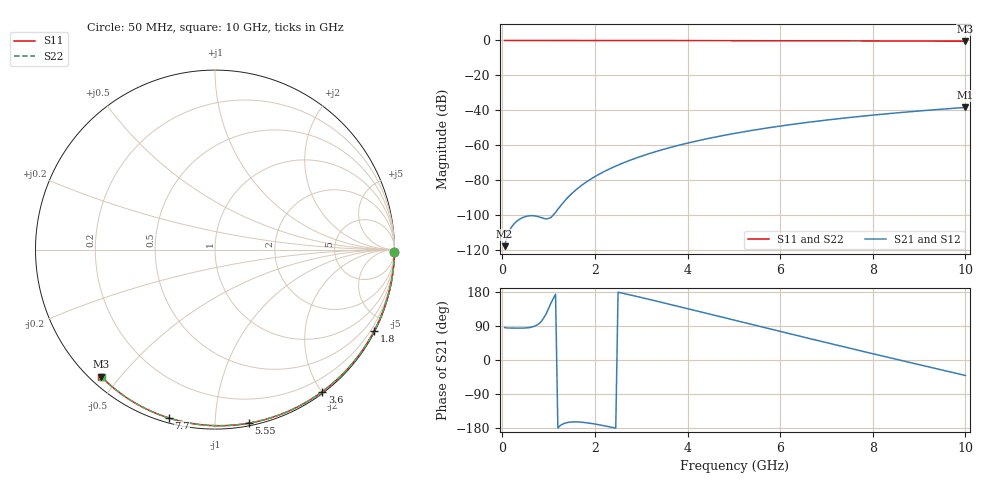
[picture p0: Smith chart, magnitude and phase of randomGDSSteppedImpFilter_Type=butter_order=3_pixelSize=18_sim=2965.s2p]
! freq	dB(S11)	phase(S11)	dB(S12)	phase(S12)
!  dB(S21)	phase(S21)	dB(S22)	phase(S22)
!S-par simulation data
#  GHz  S  DB  R 50
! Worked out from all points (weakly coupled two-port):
!   200 points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, 50 MHz to 10 GHz, reference 50 ohm
!   highest |S21| = -38.38 dB at 10 GHz (marker M1); lowest = -117.9 dB at 50 MHz (marker M2)
!   lowest |S11| = -0.4 dB at 10 GHz (marker M3), VSWR 39.07, Z = 1.54 - j22.3 ohm
!   |S11| at or under -10 dB: nowhere
!   |S22| runs from -0.4 to 0.0 dB; largest |S21 - S12| = 0
!   S11 on the Smith chart (normalised r, x): 50 MHz: open; 1.8 GHz: 0.04, -4.16; 3.6 GHz: 0.02, -2.01; 5.55 GHz: 0.02, -1.21; 7.7 GHz: 0.02, -0.76; 10 GHz: 0.03, -0.45
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0.05  -0.00 -0.8  -117.85 85.7  -117.85 85.7  -0.00 -0.8
0.9  -0.02 -13.6  -101.99 112.2  -101.99 112.2  -0.02 -13.6
1.75  -0.03 -26.3  -82.27 -164.6  -82.27 -164.6  -0.03 -26.2
1.8  -0.03 -27.0  -81.33 -165.3  -81.33 -165.3  -0.03 -27.0
1.85  -0.04 -27.8  -80.45 -166.1  -80.45 -166.1  -0.04 -27.7
1.9  -0.04 -28.5  -79.59 -167.0  -79.59 -167.0  -0.04 -28.4
2.05  -0.04 -30.7  -77.22 -170.0  -77.22 -170.0  -0.04 -30.6
2.25  -0.04 -33.6  -74.43 -174.7  -74.43 -174.7  -0.04 -33.5
2.45  -0.05 -36.5  -71.95 -179.8  -71.95 -179.8  -0.05 -36.4
2.65  -0.05 -39.4  -69.73 174.8  -69.73 174.8  -0.05 -39.3
3  -0.06 -44.4  -66.33 164.9  -66.33 164.9  -0.06 -44.3
3.4  -0.07 -50.1  -63.00 153.3  -63.00 153.3  -0.07 -49.9
3.6  -0.07 -52.9  -61.51 147.4  -61.51 147.4  -0.07 -52.7
4.3  -0.09 -62.5  -57.00 126.5  -57.00 126.5  -0.09 -62.3
5.05  -0.11 -72.4  -53.08 103.9  -53.08 103.9  -0.11 -72.2
5.55  -0.13 -78.9  -50.84 88.9  -50.84 88.9  -0.13 -78.7
6.1  -0.15 -85.9  -48.67 72.5  -48.67 72.5  -0.15 -85.7
6.7  -0.18 -93.4  -46.57 54.7  -46.57 54.7  -0.18 -93.1
7.7  -0.24 -105.4  -43.57 25.3  -43.57 25.3  -0.24 -105.1
8.35  -0.29 -113.0  -41.90 6.4  -41.90 6.4  -0.29 -112.7
9.15  -0.36 -122.2  -40.07 -16.5  -40.07 -16.5  -0.36 -121.9
10  -0.44 -131.8  -38.38 -40.8  -38.38 -40.8  -0.44 -131.5
